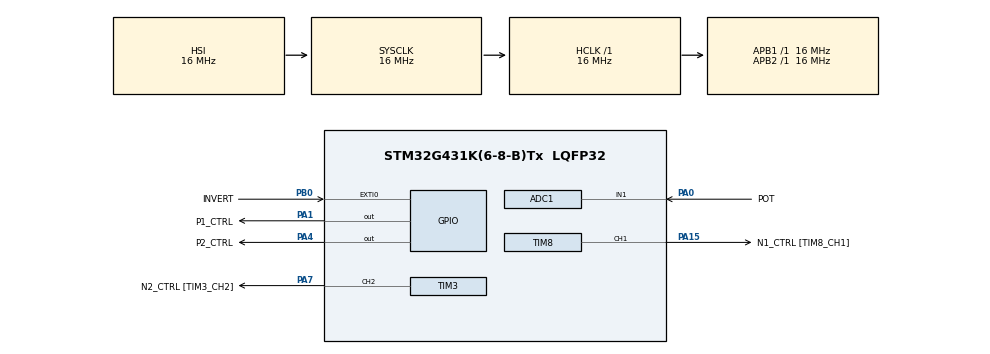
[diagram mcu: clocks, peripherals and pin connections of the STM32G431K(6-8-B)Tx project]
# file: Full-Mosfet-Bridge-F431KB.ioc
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ADC1.Channel-0\#ChannelRegularConversion=ADC_CHANNEL_1
ADC1.NbrOfConversionFlag=1
ADC1.OffsetNumber-0\#ChannelRegularConversion=ADC_OFFSET_NONE
ADC1.Rank-0\#ChannelRegularConversion=1
ADC1.SamplingTime-0\#ChannelRegularConversion=ADC_SAMPLETIME_2CYCLES_5
ADC1.master=1
Mcu.Family=STM32G4
Mcu.Name=STM32G431K(6-8-B)Tx
Mcu.Package=LQFP32
NVIC.EXTI0_IRQn=true\:0\:0\:false\:false\:true\:true\:true\:true
NVIC.PriorityGroup=NVIC_PRIORITYGROUP_4
PA0.GPIO_Label=POT
PA0.Mode=IN1-Single-Ended
PA0.Signal=ADC1_IN1
PA1.GPIO_Label=P1_CTRL
PA1.GPIO_Speed=GPIO_SPEED_FREQ_VERY_HIGH
PA1.PinState=GPIO_PIN_RESET
PA1.Signal=GPIO_Output
PA13.Mode=Serial_Wire
PA13.Signal=SYS_JTMS-SWDIO
PA14.Mode=Serial_Wire
PA14.Signal=SYS_JTCK-SWCLK
PA15.GPIO_Label=N1_CTRL [TIM8_CH1]
PA15.Signal=S_TIM8_CH1
PA4.GPIO_Label=P2_CTRL
PA4.GPIO_Speed=GPIO_SPEED_FREQ_VERY_HIGH
PA4.PinState=GPIO_PIN_RESET
PA4.Signal=GPIO_Output
PA7.GPIO_Label=N2_CTRL [TIM3_CH2]
PA7.Signal=S_TIM3_CH2
PB0.GPIO_Label=INVERT
PB0.GPIO_ModeDefaultEXTI=GPIO_MODE_IT_RISING
PB0.GPIO_PuPd=GPIO_PULLDOWN
PB0.Signal=GPXTI0
ProjectManager.HeapSize=0x200
ProjectManager.StackSize=0x400
ProjectManager.TargetToolchain=STM32CubeIDE
RCC.AHBFreq_Value=16000000
RCC.APB1Freq_Value=16000000
RCC.APB1TimFreq_Value=16000000
RCC.APB2Freq_Value=16000000
RCC.APB2TimFreq_Value=16000000
RCC.CortexFreq_Value=16000000
RCC.EXTERNAL_CLOCK_VALUE=12288000
RCC.HCLKFreq_Value=16000000
RCC.HSE_VALUE=8000000
RCC.HSI48_VALUE=48000000
RCC.HSI_VALUE=16000000
RCC.LSE_VALUE=32768
RCC.SYSCLKFreq_VALUE=16000000
RCC.USBFreq_Value=64000000
RCC.VCOOutputFreq_Value=128000000
SH.S_TIM3_CH2.0=TIM3_CH2,PWM Generation2 CH2
SH.S_TIM8_CH1.0=TIM8_CH1,PWM Generation1 CH1
TIM3.Channel-PWM\ Generation2\ CH2=TIM_CHANNEL_2
TIM3.OCPolarity_2=TIM_OCPOLARITY_LOW
TIM3.PeriodNoDither=100
TIM3.Prescaler=359
TIM8.Channel-PWM\ Generation1\ CH1=TIM_CHANNEL_1
TIM8.OCIdleState_1=TIM_OCIDLESTATE_SET
TIM8.OCPolarity_1=TIM_OCPOLARITY_LOW
TIM8.PeriodNoDither=100
TIM8.Prescaler=359
VP_SYS_VS_DBSignals.Mode=DisableDeadBatterySignals
VP_TIM3_VS_ClockSourceINT.Mode=Internal
VP_TIM8_VS_ClockSourceINT.Mode=Internal
board=custom

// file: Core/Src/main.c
/* USER CODE BEGIN Header */
/**
  ******************************************************************************
  * @file           : main.c
  * @brief          : Main program body
  ******************************************************************************
  * @attention
  *
  * Copyright (c) 2024 STMicroelectronics.
  * All rights reserved.
  *
  * This software is licensed under terms that can be found in the LICENSE file
  * in the root directory of this software component.
  * If no LICENSE file comes with this software, it is provided AS-IS.
  *
  ******************************************************************************
  */
/* USER CODE END Header */
#include "main.h"

ADC_HandleTypeDef hadc1;

TIM_HandleTypeDef htim3;
TIM_HandleTypeDef htim8;

/* USER CODE BEGIN PV */
uint8_t invert = 0;
uint8_t isClockWise = 1;
uint8_t PwmValue = 0;
/* USER CODE END PV */

void SystemClock_Config(void);
static void MX_GPIO_Init(void);
static void MX_ADC1_Init(void);
static void MX_TIM3_Init(void);
static void MX_TIM8_Init(void);

/* USER CODE BEGIN 0 */

void HAL_GPIO_EXTI_Callback(uint16_t GPIO_Pin){
	invert = 1;
}

uint8_t _read_pot(){
	uint8_t perc;
	uint16_t AdcVal, AdcRef = 4095;

	HAL_ADC_Start(&hadc1);
	HAL_ADC_PollForConversion(&hadc1, 100);
	AdcVal = HAL_ADC_GetValue(&hadc1);

	perc = AdcVal*100/AdcRef;

	return perc;
}

void _setup_motor(){
	HAL_GPIO_WritePin(P1_CTRL_GPIO_Port, P1_CTRL_Pin, GPIO_PIN_RESET);
	HAL_GPIO_WritePin(P2_CTRL_GPIO_Port, P2_CTRL_Pin, GPIO_PIN_RESET);

	HAL_TIM_PWM_Start(&htim3, TIM_CHANNEL_2);
	HAL_TIM_PWM_Start(&htim8, TIM_CHANNEL_1);

	__HAL_TIM_SET_COMPARE(&htim8, TIM_CHANNEL_1, 0);
	__HAL_TIM_SET_COMPARE(&htim3, TIM_CHANNEL_2, 0);
}

void _disable_motor(){
	__HAL_TIM_SET_COMPARE(&htim8, TIM_CHANNEL_1, 0);
	__HAL_TIM_SET_COMPARE(&htim3, TIM_CHANNEL_2, 0);

	HAL_GPIO_WritePin(P1_CTRL_GPIO_Port, P1_CTRL_Pin, GPIO_PIN_RESET);
	HAL_GPIO_WritePin(P2_CTRL_GPIO_Port, P2_CTRL_Pin, GPIO_PIN_RESET);
}

void _set_clockwise(){
	/* Sentido Horario: Habilita Mosfet-P1, PWM no Canal N2 */
	/* Canal Mosfet-N2 esta no Timer3-CH2 */
	HAL_GPIO_WritePin(P1_CTRL_GPIO_Port, P1_CTRL_Pin, GPIO_PIN_SET);
}

void _set_anticlockwise(){
	/* Sentido Anti-Horario: Habilita Mosfet-P2, PWM no Canal N1 */
	/* Canal Mosfet-N1 esta no Timer8-CH1 */
	HAL_GPIO_WritePin(P2_CTRL_GPIO_Port, P2_CTRL_Pin, GPIO_PIN_SET);
}

void _set_power(uint8_t power){
	if (isClockWise){
		// Mosfet N2
		__HAL_TIM_SET_COMPARE(&htim3, TIM_CHANNEL_2, power);
	}
	else{
		//  Mosfet N1
		__HAL_TIM_SET_COMPARE(&htim8, TIM_CHANNEL_1, power);
	}
}

/* USER CODE END 0 */

int main(void)
{

  /* MCU Configuration--------------------------------------------------------*/

  /* Reset of all peripherals, Initializes the Flash interface and the Systick. */
  HAL_Init();

  /* Configure the system clock */
  SystemClock_Config();

  /* Initialize all configured peripherals */
  MX_GPIO_Init();
  MX_ADC1_Init();
  MX_TIM3_Init();
  MX_TIM8_Init();
  /* USER CODE BEGIN 2 */
  _setup_motor();
  _set_clockwise(PwmValue);
  /* USER CODE END 2 */

  /* Infinite loop */
  /* USER CODE BEGIN WHILE */
  while (1)
  {
	  PwmValue = _read_pot();
	  _set_power(PwmValue);

	  if (invert == 1){
		  invert = 0;
		  if (isClockWise == 1){
			  _disable_motor();
			  _set_anticlockwise();
			  isClockWise = 0;
		  }
		  else{
			  _disable_motor();
			  _set_clockwise();
			  isClockWise = 1;
		  }
	  }
	  HAL_Delay(100);
    /* USER CODE END WHILE */

  }
}

void SystemClock_Config(void)
{
  RCC_OscInitTypeDef RCC_OscInitStruct = {0};
  RCC_ClkInitTypeDef RCC_ClkInitStruct = {0};

  /** Configure the main internal regulator output voltage
  */
  HAL_PWREx_ControlVoltageScaling(PWR_REGULATOR_VOLTAGE_SCALE1);

  /** Initializes the RCC Oscillators according to the specified parameters
  * in the RCC_OscInitTypeDef structure.
  */
  RCC_OscInitStruct.OscillatorType = RCC_OSCILLATORTYPE_HSI;
  RCC_OscInitStruct.HSIState = RCC_HSI_ON;
  RCC_OscInitStruct.HSICalibrationValue = RCC_HSICALIBRATION_DEFAULT;
  RCC_OscInitStruct.PLL.PLLState = RCC_PLL_NONE;
  if (HAL_RCC_OscConfig(&RCC_OscInitStruct) != HAL_OK)
  {
    Error_Handler();
  }

  /** Initializes the CPU, AHB and APB buses clocks
  */
  RCC_ClkInitStruct.ClockType = RCC_CLOCKTYPE_HCLK|RCC_CLOCKTYPE_SYSCLK
                              |RCC_CLOCKTYPE_PCLK1|RCC_CLOCKTYPE_PCLK2;
  RCC_ClkInitStruct.SYSCLKSource = RCC_SYSCLKSOURCE_HSI;
  RCC_ClkInitStruct.AHBCLKDivider = RCC_SYSCLK_DIV1;
  RCC_ClkInitStruct.APB1CLKDivider = RCC_HCLK_DIV1;
  RCC_ClkInitStruct.APB2CLKDivider = RCC_HCLK_DIV1;

  if (HAL_RCC_ClockConfig(&RCC_ClkInitStruct, FLASH_LATENCY_0) != HAL_OK)
  {
    Error_Handler();
  }
}

static void MX_ADC1_Init(void)
{

  ADC_MultiModeTypeDef multimode = {0};
  ADC_ChannelConfTypeDef sConfig = {0};

  /** Common config
  */
  hadc1.Instance = ADC1;
  hadc1.Init.ClockPrescaler = ADC_CLOCK_SYNC_PCLK_DIV2;
  hadc1.Init.Resolution = ADC_RESOLUTION_12B;
  hadc1.Init.DataAlign = ADC_DATAALIGN_RIGHT;
  hadc1.Init.GainCompensation = 0;
  hadc1.Init.ScanConvMode = ADC_SCAN_DISABLE;
  hadc1.Init.EOCSelection = ADC_EOC_SINGLE_CONV;
  hadc1.Init.LowPowerAutoWait = DISABLE;
  hadc1.Init.ContinuousConvMode = DISABLE;
  hadc1.Init.NbrOfConversion = 1;
  hadc1.Init.DiscontinuousConvMode = DISABLE;
  hadc1.Init.ExternalTrigConv = ADC_SOFTWARE_START;
  hadc1.Init.ExternalTrigConvEdge = ADC_EXTERNALTRIGCONVEDGE_NONE;
  hadc1.Init.DMAContinuousRequests = DISABLE;
  hadc1.Init.Overrun = ADC_OVR_DATA_PRESERVED;
  hadc1.Init.OversamplingMode = DISABLE;
  if (HAL_ADC_Init(&hadc1) != HAL_OK)
  {
    Error_Handler();
  }

  /** Configure the ADC multi-mode
  */
  multimode.Mode = ADC_MODE_INDEPENDENT;
  if (HAL_ADCEx_MultiModeConfigChannel(&hadc1, &multimode) != HAL_OK)
  {
    Error_Handler();
  }

  /** Configure Regular Channel
  */
  sConfig.Channel = ADC_CHANNEL_1;
  sConfig.Rank = ADC_REGULAR_RANK_1;
  sConfig.SamplingTime = ADC_SAMPLETIME_2CYCLES_5;
  sConfig.SingleDiff = ADC_SINGLE_ENDED;
  sConfig.OffsetNumber = ADC_OFFSET_NONE;
  sConfig.Offset = 0;
  if (HAL_ADC_ConfigChannel(&hadc1, &sConfig) != HAL_OK)
  {
    Error_Handler();
  }

}

static void MX_TIM3_Init(void)
{

  TIM_ClockConfigTypeDef sClockSourceConfig = {0};
  TIM_MasterConfigTypeDef sMasterConfig = {0};
  TIM_OC_InitTypeDef sConfigOC = {0};

  htim3.Instance = TIM3;
  htim3.Init.Prescaler = 359;
  htim3.Init.CounterMode = TIM_COUNTERMODE_UP;
  htim3.Init.Period = 100;
  htim3.Init.ClockDivision = TIM_CLOCKDIVISION_DIV1;
  htim3.Init.AutoReloadPreload = TIM_AUTORELOAD_PRELOAD_DISABLE;
  if (HAL_TIM_Base_Init(&htim3) != HAL_OK)
  {
    Error_Handler();
  }
  sClockSourceConfig.ClockSource = TIM_CLOCKSOURCE_INTERNAL;
  if (HAL_TIM_ConfigClockSource(&htim3, &sClockSourceConfig) != HAL_OK)
  {
    Error_Handler();
  }
  if (HAL_TIM_PWM_Init(&htim3) != HAL_OK)
  {
    Error_Handler();
  }
  sMasterConfig.MasterOutputTrigger = TIM_TRGO_RESET;
  sMasterConfig.MasterSlaveMode = TIM_MASTERSLAVEMODE_DISABLE;
  if (HAL_TIMEx_MasterConfigSynchronization(&htim3, &sMasterConfig) != HAL_OK)
  {
    Error_Handler();
  }
  sConfigOC.OCMode = TIM_OCMODE_PWM1;
  sConfigOC.Pulse = 0;
  sConfigOC.OCPolarity = TIM_OCPOLARITY_LOW;
  sConfigOC.OCFastMode = TIM_OCFAST_DISABLE;
  if (HAL_TIM_PWM_ConfigChannel(&htim3, &sConfigOC, TIM_CHANNEL_2) != HAL_OK)
  {
    Error_Handler();
  }
  HAL_TIM_MspPostInit(&htim3);

}

static void MX_TIM8_Init(void)
{

  TIM_ClockConfigTypeDef sClockSourceConfig = {0};
  TIM_MasterConfigTypeDef sMasterConfig = {0};
  TIM_OC_InitTypeDef sConfigOC = {0};
  TIM_BreakDeadTimeConfigTypeDef sBreakDeadTimeConfig = {0};

  htim8.Instance = TIM8;
  htim8.Init.Prescaler = 359;
  htim8.Init.CounterMode = TIM_COUNTERMODE_UP;
  htim8.Init.Period = 100;
  htim8.Init.ClockDivision = TIM_CLOCKDIVISION_DIV1;
  htim8.Init.RepetitionCounter = 0;
  htim8.Init.AutoReloadPreload = TIM_AUTORELOAD_PRELOAD_DISABLE;
  if (HAL_TIM_Base_Init(&htim8) != HAL_OK)
  {
    Error_Handler();
  }
  sClockSourceConfig.ClockSource = TIM_CLOCKSOURCE_INTERNAL;
  if (HAL_TIM_ConfigClockSource(&htim8, &sClockSourceConfig) != HAL_OK)
  {
    Error_Handler();
  }
  if (HAL_TIM_PWM_Init(&htim8) != HAL_OK)
  {
    Error_Handler();
  }
  sMasterConfig.MasterOutputTrigger = TIM_TRGO_RESET;
  sMasterConfig.MasterOutputTrigger2 = TIM_TRGO2_RESET;
  sMasterConfig.MasterSlaveMode = TIM_MASTERSLAVEMODE_DISABLE;
  if (HAL_TIMEx_MasterConfigSynchronization(&htim8, &sMasterConfig) != HAL_OK)
  {
    Error_Handler();
  }
  sConfigOC.OCMode = TIM_OCMODE_PWM1;
  sConfigOC.Pulse = 0;
  sConfigOC.OCPolarity = TIM_OCPOLARITY_LOW;
  sConfigOC.OCNPolarity = TIM_OCNPOLARITY_HIGH;
  sConfigOC.OCFastMode = TIM_OCFAST_DISABLE;
  sConfigOC.OCIdleState = TIM_OCIDLESTATE_SET;
  sConfigOC.OCNIdleState = TIM_OCNIDLESTATE_RESET;
  if (HAL_TIM_PWM_ConfigChannel(&htim8, &sConfigOC, TIM_CHANNEL_1) != HAL_OK)
  {
    Error_Handler();
  }
  sBreakDeadTimeConfig.OffStateRunMode = TIM_OSSR_DISABLE;
  sBreakDeadTimeConfig.OffStateIDLEMode = TIM_OSSI_DISABLE;
  sBreakDeadTimeConfig.LockLevel = TIM_LOCKLEVEL_OFF;
  sBreakDeadTimeConfig.DeadTime = 0;
  sBreakDeadTimeConfig.BreakState = TIM_BREAK_DISABLE;
  sBreakDeadTimeConfig.BreakPolarity = TIM_BREAKPOLARITY_HIGH;
  sBreakDeadTimeConfig.BreakFilter = 0;
  sBreakDeadTimeConfig.BreakAFMode = TIM_BREAK_AFMODE_INPUT;
  sBreakDeadTimeConfig.Break2State = TIM_BREAK2_DISABLE;
  sBreakDeadTimeConfig.Break2Polarity = TIM_BREAK2POLARITY_HIGH;
  sBreakDeadTimeConfig.Break2Filter = 0;
  sBreakDeadTimeConfig.Break2AFMode = TIM_BREAK_AFMODE_INPUT;
  sBreakDeadTimeConfig.AutomaticOutput = TIM_AUTOMATICOUTPUT_DISABLE;
  if (HAL_TIMEx_ConfigBreakDeadTime(&htim8, &sBreakDeadTimeConfig) != HAL_OK)
  {
    Error_Handler();
  }
  HAL_TIM_MspPostInit(&htim8);

}

static void MX_GPIO_Init(void)
{
  GPIO_InitTypeDef GPIO_InitStruct = {0};

  /* GPIO Ports Clock Enable */
  __HAL_RCC_GPIOA_CLK_ENABLE();
  __HAL_RCC_GPIOB_CLK_ENABLE();

  /*Configure GPIO pin Output Level */
  HAL_GPIO_WritePin(GPIOA, P1_CTRL_Pin|P2_CTRL_Pin, GPIO_PIN_RESET);

  /*Configure GPIO pins : P1_CTRL_Pin P2_CTRL_Pin */
  GPIO_InitStruct.Pin = P1_CTRL_Pin|P2_CTRL_Pin;
  GPIO_InitStruct.Mode = GPIO_MODE_OUTPUT_PP;
  GPIO_InitStruct.Pull = GPIO_NOPULL;
  GPIO_InitStruct.Speed = GPIO_SPEED_FREQ_VERY_HIGH;
  HAL_GPIO_Init(GPIOA, &GPIO_InitStruct);

  /*Configure GPIO pin : INVERT_Pin */
  GPIO_InitStruct.Pin = INVERT_Pin;
  GPIO_InitStruct.Mode = GPIO_MODE_IT_RISING;
  GPIO_InitStruct.Pull = GPIO_PULLDOWN;
  HAL_GPIO_Init(INVERT_GPIO_Port, &GPIO_InitStruct);

  /* EXTI interrupt init*/
  HAL_NVIC_SetPriority(EXTI0_IRQn, 0, 0);
  HAL_NVIC_EnableIRQ(EXTI0_IRQn);

}

void Error_Handler(void)
{
  __disable_irq();
  while (1)
  {
  }
}
